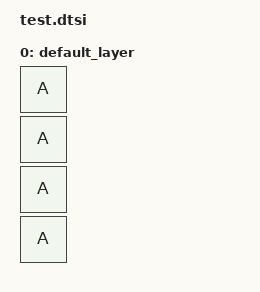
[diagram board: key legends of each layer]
#include <physical_layouts.dtsi>
#include <dt-bindings/zmk/matrix_transform.h>

/*
 * native_sim_zmk_test_mock.dts (the board backing tests/studio/) sets
 * `exit-after` on &kscan, which calls exit(0) from the kscan workqueue
 * shortly (one extra scheduled work item, ~last-event-delay-ms later) after
 * the scripted event list is exhausted -- see kscan_mock.c's
 * kscan_mock_schedule_next_event. That races against the stats test's
 * k_sleep(), which needs the process to stay alive well past the last
 * scripted event to assert stats via RPC. Delete the property here so only
 * src/test/kscan_diagnostics_rpc_test.c's own explicit exit(0) (after all
 * assertions finish) terminates the process -- run-test.sh has no timeout of
 * its own and simply waits for zmk.exe to exit, so *something* must call
 * exit() eventually.
 */
&kscan {
	/delete-property/ exit-after;
};

/ {
	physical_layout: physical_layout {
		compatible = "zmk,physical-layout";
		display-name = "Custom Layout";
		keys
		= <&key_physical_attrs 100 100    0    0      0    0    0>
		, <&key_physical_attrs 100 100    0  100      0    0    0>
		, <&key_physical_attrs 100 100    0  200      0    0    0>
		, <&key_physical_attrs 100 100    0  300      0    0    0>
		;
		transform = <&transform0>;
	};
	transform0: transform0 {
		compatible = "zmk,matrix-transform";
		columns = <2>;
		rows = <2>;
		map = <
		RC(0,0)  RC(0,1)  RC(1,0)  RC(1, 1)
		>;
	};
};

#include <dt-bindings/zmk/keys.h>
#include <behaviors.dtsi>
#include <dt-bindings/zmk/kscan_mock.h>

/ {
	keymap {
		compatible = "zmk,keymap";

		default_layer {
			bindings = <
			&kp A
			&kp A
			&kp A
			&kp A
			>;
		};
	};
};

&kscan {
	/* Scripted for src/test/kscan_diagnostics_rpc_test.c's stats assertions
	 * (DESIGN.md SS8): position 0 (RC(0,0)) gets a normal press/release pair
	 * (20ms nominal hold) followed by a fast re-press whose release->press
	 * gap (30ms nominal) targets the "<50ms" chatter bucket, the widest
	 * bucket band, to absorb the scheduling jitter
	 * CONFIG_NATIVE_SIM_SLOWDOWN_TO_REAL_TIME=y introduces (this is a real
	 * wall-clock-timed simulation, not instant -- observed jitter has been up
	 * to ~6ms per hop in practice, so narrow buckets like "<20ms" are not
	 * reliable to target here; the test asserts tolerant ranges, not exact
	 * ms). Position 1 (RC(0,1)) gets a single press/release pair with no
	 * repress, to prove counters are tracked independently per position. The
	 * `msec` argument of ZMK_MOCK_PRESS/RELEASE is the delay *before* that
	 * event fires (relative to the previous scheduled event), not an
	 * absolute timestamp -- see dependencies/zmk/.../drivers/kscan/kscan_mock.c.
	 */
	events = <
	ZMK_MOCK_PRESS(0,0,20)
	ZMK_MOCK_RELEASE(0,0,20)
	ZMK_MOCK_PRESS(0,0,30)
	ZMK_MOCK_RELEASE(0,0,20)
	ZMK_MOCK_PRESS(0,1,20)
	ZMK_MOCK_RELEASE(0,1,20)
	>;
};
